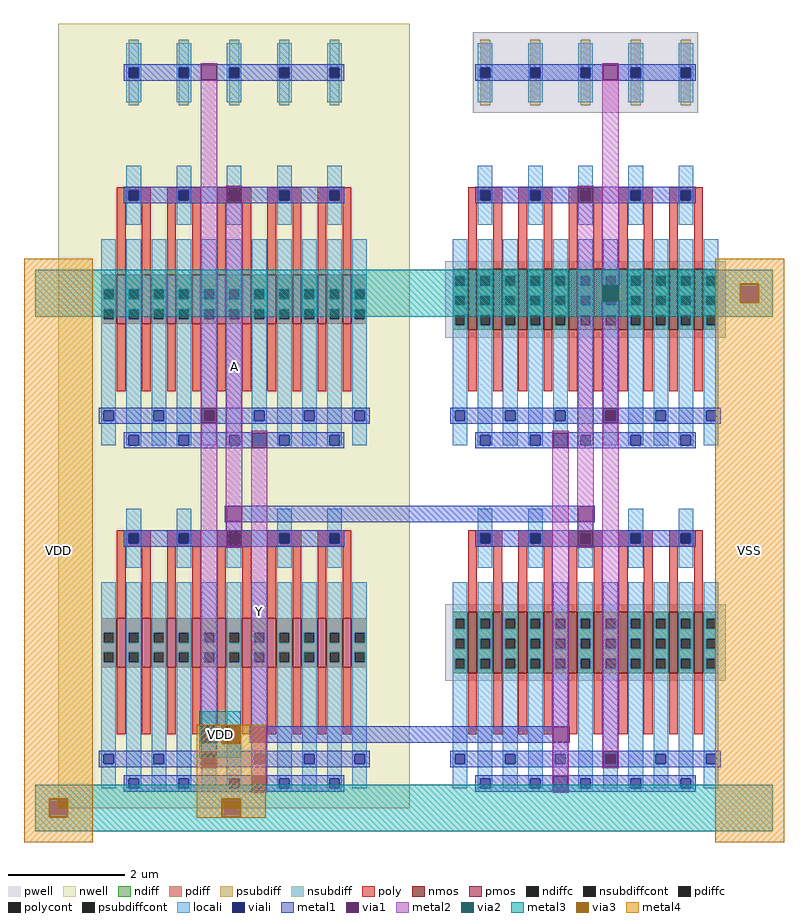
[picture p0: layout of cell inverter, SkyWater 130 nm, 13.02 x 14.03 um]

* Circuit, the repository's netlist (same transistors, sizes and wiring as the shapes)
* NGSPICE file created from inverter_lvs.ext - technology: sky130A

.subckt inverter_lvs A Y VDD VSS
X0 VDD A Y VDD sky130_fd_pr__pfet_01v8 ad=2.772e+12p pd=2.676e+07u as=2.352e+12p ps=2.24e+07u w=840000u l=150000u M=20
X1 Y A VSS VSS sky130_fd_pr__nfet_01v8 ad=2.94e+12p pd=2.66e+07u as=3.465e+12p ps=3.18e+07u w=1.05e+06u l=150000u M=20
.ends

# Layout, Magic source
magic
tech sky130A
magscale 1 2
<< metal1 >>
rect 570 1034 1838 1036
rect 570 982 576 1034
rect 628 982 1780 1034
rect 1832 982 1838 1034
rect 570 980 1838 982
rect 656 278 1752 280
rect 656 226 662 278
rect 714 226 1694 278
rect 1746 226 1752 278
rect 656 224 1752 226
<< via1 >>
rect 576 982 628 1034
rect 1780 982 1832 1034
rect 662 226 714 278
rect 1694 226 1746 278
<< metal2 >>
rect 1864 1792 1920 1801
rect 1864 1727 1920 1736
rect 574 1034 630 1040
rect 574 982 576 1034
rect 628 982 630 1034
rect 574 976 630 982
rect 1778 1034 1834 1040
rect 1778 982 1780 1034
rect 1832 982 1834 1034
rect 1778 976 1834 982
rect 488 280 544 289
rect 488 215 544 224
rect 660 278 716 284
rect 660 226 662 278
rect 714 226 716 278
rect 660 220 716 226
rect 1692 278 1748 284
rect 1692 226 1694 278
rect 1746 226 1748 278
rect 1692 220 1748 226
<< via2 >>
rect 1864 1736 1920 1792
rect 488 224 544 280
<< metal3 >>
rect -80 1796 2448 1844
rect -80 1792 2336 1796
rect -80 1736 1864 1792
rect 1920 1736 2336 1792
rect -80 1732 2336 1736
rect 2400 1732 2448 1796
rect -80 1684 2448 1732
rect 483 284 625 332
rect 483 280 560 284
rect 483 224 488 280
rect 544 224 560 280
rect 483 220 560 224
rect 624 220 625 284
rect 483 172 625 220
rect -80 32 2448 80
rect -80 -32 -32 32
rect 32 -32 560 32
rect 624 -32 2448 32
rect -80 -80 2448 -32
<< via3 >>
rect 2336 1732 2400 1796
rect 560 220 624 284
rect -32 -32 32 32
rect 560 -32 624 32
<< metal4 >>
rect -118 32 118 1882
rect 2250 1796 2486 1882
rect 2250 1732 2336 1796
rect 2400 1732 2486 1796
rect -118 -32 -32 32
rect 32 -32 118 32
rect -118 -118 118 -32
rect 474 284 710 285
rect 474 220 560 284
rect 624 220 710 284
rect 474 32 710 220
rect 474 -32 560 32
rect 624 -32 710 32
rect 474 -33 710 -32
rect 2250 -118 2486 1732
use NMOS_S_6078655_X5_Y2_1678793193  NMOS_S_6078655_X5_Y2_1678793193_0
transform 1 0 1204 0 1 0
box 121 52 1083 2658
use PMOS_S_79543009_X5_Y2_1678793194  PMOS_S_79543009_X5_Y2_1678793194_0
transform -1 0 1204 0 1 0
box 0 0 1204 2688
<< labels >>
flabel metal2 s 688 672 688 672 0 FreeSerif 0 0 0 0 Y
flabel metal2 s 602 1512 602 1512 0 FreeSerif 0 0 0 0 A
flabel metal4 s 2368 882 2368 882 0 FreeSerif 0 0 0 0 VSS
flabel metal4 s 2368 882 2368 882 0 FreeSerif 0 0 0 0 VSS
flabel metal4 s 0 882 0 882 0 FreeSerif 0 0 0 0 VDD
flabel metal3 s 554 252 554 252 0 FreeSerif 0 0 0 0 VDD
flabel metal4 s 0 882 0 882 0 FreeSerif 0 0 0 0 VDD
flabel metal4 s 0 882 0 882 0 FreeSerif 0 0 0 0 VDD
flabel metal4 s 0 882 0 882 0 FreeSerif 0 0 0 0 VDD
<< end >>

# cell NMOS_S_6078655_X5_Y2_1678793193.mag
magic
tech sky130A
magscale 1 2
<< pwell >>
rect 215 2382 989 2658
rect 121 1612 1083 1874
rect 121 436 1083 698
<< nmos >>
rect 200 1638 230 1848
rect 286 1638 316 1848
rect 372 1638 402 1848
rect 458 1638 488 1848
rect 544 1638 574 1848
rect 630 1638 660 1848
rect 716 1638 746 1848
rect 802 1638 832 1848
rect 888 1638 918 1848
rect 974 1638 1004 1848
rect 200 462 230 672
rect 286 462 316 672
rect 372 462 402 672
rect 458 462 488 672
rect 544 462 574 672
rect 630 462 660 672
rect 716 462 746 672
rect 802 462 832 672
rect 888 462 918 672
rect 974 462 1004 672
<< ndiff >>
rect 147 1824 200 1848
rect 147 1790 155 1824
rect 189 1790 200 1824
rect 147 1756 200 1790
rect 147 1722 155 1756
rect 189 1722 200 1756
rect 147 1688 200 1722
rect 147 1654 155 1688
rect 189 1654 200 1688
rect 147 1638 200 1654
rect 230 1824 286 1848
rect 230 1790 241 1824
rect 275 1790 286 1824
rect 230 1756 286 1790
rect 230 1722 241 1756
rect 275 1722 286 1756
rect 230 1688 286 1722
rect 230 1654 241 1688
rect 275 1654 286 1688
rect 230 1638 286 1654
rect 316 1824 372 1848
rect 316 1790 327 1824
rect 361 1790 372 1824
rect 316 1756 372 1790
rect 316 1722 327 1756
rect 361 1722 372 1756
rect 316 1688 372 1722
rect 316 1654 327 1688
rect 361 1654 372 1688
rect 316 1638 372 1654
rect 402 1824 458 1848
rect 402 1790 413 1824
rect 447 1790 458 1824
rect 402 1756 458 1790
rect 402 1722 413 1756
rect 447 1722 458 1756
rect 402 1688 458 1722
rect 402 1654 413 1688
rect 447 1654 458 1688
rect 402 1638 458 1654
rect 488 1824 544 1848
rect 488 1790 499 1824
rect 533 1790 544 1824
rect 488 1756 544 1790
rect 488 1722 499 1756
rect 533 1722 544 1756
rect 488 1688 544 1722
rect 488 1654 499 1688
rect 533 1654 544 1688
rect 488 1638 544 1654
rect 574 1824 630 1848
rect 574 1790 585 1824
rect 619 1790 630 1824
rect 574 1756 630 1790
rect 574 1722 585 1756
rect 619 1722 630 1756
rect 574 1688 630 1722
rect 574 1654 585 1688
rect 619 1654 630 1688
rect 574 1638 630 1654
rect 660 1824 716 1848
rect 660 1790 671 1824
rect 705 1790 716 1824
rect 660 1756 716 1790
rect 660 1722 671 1756
rect 705 1722 716 1756
rect 660 1688 716 1722
rect 660 1654 671 1688
rect 705 1654 716 1688
rect 660 1638 716 1654
rect 746 1824 802 1848
rect 746 1790 757 1824
rect 791 1790 802 1824
rect 746 1756 802 1790
rect 746 1722 757 1756
rect 791 1722 802 1756
rect 746 1688 802 1722
rect 746 1654 757 1688
rect 791 1654 802 1688
rect 746 1638 802 1654
rect 832 1824 888 1848
rect 832 1790 843 1824
rect 877 1790 888 1824
rect 832 1756 888 1790
rect 832 1722 843 1756
rect 877 1722 888 1756
rect 832 1688 888 1722
rect 832 1654 843 1688
rect 877 1654 888 1688
rect 832 1638 888 1654
rect 918 1824 974 1848
rect 918 1790 929 1824
rect 963 1790 974 1824
rect 918 1756 974 1790
rect 918 1722 929 1756
rect 963 1722 974 1756
rect 918 1688 974 1722
rect 918 1654 929 1688
rect 963 1654 974 1688
rect 918 1638 974 1654
rect 1004 1824 1057 1848
rect 1004 1790 1015 1824
rect 1049 1790 1057 1824
rect 1004 1756 1057 1790
rect 1004 1722 1015 1756
rect 1049 1722 1057 1756
rect 1004 1688 1057 1722
rect 1004 1654 1015 1688
rect 1049 1654 1057 1688
rect 1004 1638 1057 1654
rect 147 648 200 672
rect 147 614 155 648
rect 189 614 200 648
rect 147 580 200 614
rect 147 546 155 580
rect 189 546 200 580
rect 147 512 200 546
rect 147 478 155 512
rect 189 478 200 512
rect 147 462 200 478
rect 230 648 286 672
rect 230 614 241 648
rect 275 614 286 648
rect 230 580 286 614
rect 230 546 241 580
rect 275 546 286 580
rect 230 512 286 546
rect 230 478 241 512
rect 275 478 286 512
rect 230 462 286 478
rect 316 648 372 672
rect 316 614 327 648
rect 361 614 372 648
rect 316 580 372 614
rect 316 546 327 580
rect 361 546 372 580
rect 316 512 372 546
rect 316 478 327 512
rect 361 478 372 512
rect 316 462 372 478
rect 402 648 458 672
rect 402 614 413 648
rect 447 614 458 648
rect 402 580 458 614
rect 402 546 413 580
rect 447 546 458 580
rect 402 512 458 546
rect 402 478 413 512
rect 447 478 458 512
rect 402 462 458 478
rect 488 648 544 672
rect 488 614 499 648
rect 533 614 544 648
rect 488 580 544 614
rect 488 546 499 580
rect 533 546 544 580
rect 488 512 544 546
rect 488 478 499 512
rect 533 478 544 512
rect 488 462 544 478
rect 574 648 630 672
rect 574 614 585 648
rect 619 614 630 648
rect 574 580 630 614
rect 574 546 585 580
rect 619 546 630 580
rect 574 512 630 546
rect 574 478 585 512
rect 619 478 630 512
rect 574 462 630 478
rect 660 648 716 672
rect 660 614 671 648
rect 705 614 716 648
rect 660 580 716 614
rect 660 546 671 580
rect 705 546 716 580
rect 660 512 716 546
rect 660 478 671 512
rect 705 478 716 512
rect 660 462 716 478
rect 746 648 802 672
rect 746 614 757 648
rect 791 614 802 648
rect 746 580 802 614
rect 746 546 757 580
rect 791 546 802 580
rect 746 512 802 546
rect 746 478 757 512
rect 791 478 802 512
rect 746 462 802 478
rect 832 648 888 672
rect 832 614 843 648
rect 877 614 888 648
rect 832 580 888 614
rect 832 546 843 580
rect 877 546 888 580
rect 832 512 888 546
rect 832 478 843 512
rect 877 478 888 512
rect 832 462 888 478
rect 918 648 974 672
rect 918 614 929 648
rect 963 614 974 648
rect 918 580 974 614
rect 918 546 929 580
rect 963 546 974 580
rect 918 512 974 546
rect 918 478 929 512
rect 963 478 974 512
rect 918 462 974 478
rect 1004 648 1057 672
rect 1004 614 1015 648
rect 1049 614 1057 648
rect 1004 580 1057 614
rect 1004 546 1015 580
rect 1049 546 1057 580
rect 1004 512 1057 546
rect 1004 478 1015 512
rect 1049 478 1057 512
rect 1004 462 1057 478
<< ndiffc >>
rect 155 1790 189 1824
rect 155 1722 189 1756
rect 155 1654 189 1688
rect 241 1790 275 1824
rect 241 1722 275 1756
rect 241 1654 275 1688
rect 327 1790 361 1824
rect 327 1722 361 1756
rect 327 1654 361 1688
rect 413 1790 447 1824
rect 413 1722 447 1756
rect 413 1654 447 1688
rect 499 1790 533 1824
rect 499 1722 533 1756
rect 499 1654 533 1688
rect 585 1790 619 1824
rect 585 1722 619 1756
rect 585 1654 619 1688
rect 671 1790 705 1824
rect 671 1722 705 1756
rect 671 1654 705 1688
rect 757 1790 791 1824
rect 757 1722 791 1756
rect 757 1654 791 1688
rect 843 1790 877 1824
rect 843 1722 877 1756
rect 843 1654 877 1688
rect 929 1790 963 1824
rect 929 1722 963 1756
rect 929 1654 963 1688
rect 1015 1790 1049 1824
rect 1015 1722 1049 1756
rect 1015 1654 1049 1688
rect 155 614 189 648
rect 155 546 189 580
rect 155 478 189 512
rect 241 614 275 648
rect 241 546 275 580
rect 241 478 275 512
rect 327 614 361 648
rect 327 546 361 580
rect 327 478 361 512
rect 413 614 447 648
rect 413 546 447 580
rect 413 478 447 512
rect 499 614 533 648
rect 499 546 533 580
rect 499 478 533 512
rect 585 614 619 648
rect 585 546 619 580
rect 585 478 619 512
rect 671 614 705 648
rect 671 546 705 580
rect 671 478 705 512
rect 757 614 791 648
rect 757 546 791 580
rect 757 478 791 512
rect 843 614 877 648
rect 843 546 877 580
rect 843 478 877 512
rect 929 614 963 648
rect 929 546 963 580
rect 929 478 963 512
rect 1015 614 1049 648
rect 1015 546 1049 580
rect 1015 478 1049 512
<< psubdiff >>
rect 241 2537 275 2632
rect 241 2408 275 2503
rect 413 2537 447 2632
rect 413 2408 447 2503
rect 585 2537 619 2632
rect 585 2408 619 2503
rect 757 2537 791 2632
rect 757 2408 791 2503
rect 929 2537 963 2632
rect 929 2408 963 2503
<< psubdiffcont >>
rect 241 2503 275 2537
rect 413 2503 447 2537
rect 585 2503 619 2537
rect 757 2503 791 2537
rect 929 2503 963 2537
<< poly >>
rect 200 2117 316 2127
rect 200 2083 241 2117
rect 275 2083 316 2117
rect 200 2073 316 2083
rect 200 1848 230 2073
rect 286 1848 316 2073
rect 372 2117 488 2127
rect 372 2083 413 2117
rect 447 2083 488 2117
rect 372 2073 488 2083
rect 372 1848 402 2073
rect 458 1848 488 2073
rect 544 2117 660 2127
rect 544 2083 585 2117
rect 619 2083 660 2117
rect 544 2073 660 2083
rect 544 1848 574 2073
rect 630 1848 660 2073
rect 716 2117 832 2127
rect 716 2083 757 2117
rect 791 2083 832 2117
rect 716 2073 832 2083
rect 716 1848 746 2073
rect 802 1848 832 2073
rect 888 2117 1004 2127
rect 888 2083 929 2117
rect 963 2083 1004 2117
rect 888 2073 1004 2083
rect 888 1848 918 2073
rect 974 1848 1004 2073
rect 200 1428 230 1638
rect 286 1428 316 1638
rect 372 1428 402 1638
rect 458 1428 488 1638
rect 544 1428 574 1638
rect 630 1428 660 1638
rect 716 1428 746 1638
rect 802 1428 832 1638
rect 888 1428 918 1638
rect 974 1428 1004 1638
rect 200 941 316 951
rect 200 907 241 941
rect 275 907 316 941
rect 200 897 316 907
rect 200 672 230 897
rect 286 672 316 897
rect 372 941 488 951
rect 372 907 413 941
rect 447 907 488 941
rect 372 897 488 907
rect 372 672 402 897
rect 458 672 488 897
rect 544 941 660 951
rect 544 907 585 941
rect 619 907 660 941
rect 544 897 660 907
rect 544 672 574 897
rect 630 672 660 897
rect 716 941 832 951
rect 716 907 757 941
rect 791 907 832 941
rect 716 897 832 907
rect 716 672 746 897
rect 802 672 832 897
rect 888 941 1004 951
rect 888 907 929 941
rect 963 907 1004 941
rect 888 897 1004 907
rect 888 672 918 897
rect 974 672 1004 897
rect 200 252 230 462
rect 286 252 316 462
rect 372 252 402 462
rect 458 252 488 462
rect 544 252 574 462
rect 630 252 660 462
rect 716 252 746 462
rect 802 252 832 462
rect 888 252 918 462
rect 974 252 1004 462
<< polycont >>
rect 241 2083 275 2117
rect 413 2083 447 2117
rect 585 2083 619 2117
rect 757 2083 791 2117
rect 929 2083 963 2117
rect 241 907 275 941
rect 413 907 447 941
rect 585 907 619 941
rect 757 907 791 941
rect 929 907 963 941
<< locali >>
rect 233 2537 283 2621
rect 233 2503 241 2537
rect 275 2503 283 2537
rect 233 2419 283 2503
rect 405 2537 455 2621
rect 405 2503 413 2537
rect 447 2503 455 2537
rect 405 2419 455 2503
rect 577 2537 627 2621
rect 577 2503 585 2537
rect 619 2503 627 2537
rect 577 2419 627 2503
rect 749 2537 799 2621
rect 749 2503 757 2537
rect 791 2503 799 2537
rect 749 2419 799 2503
rect 921 2537 971 2621
rect 921 2503 929 2537
rect 963 2503 971 2537
rect 921 2419 971 2503
rect 233 2117 283 2201
rect 233 2083 241 2117
rect 275 2083 283 2117
rect 233 1999 283 2083
rect 405 2117 455 2201
rect 405 2083 413 2117
rect 447 2083 455 2117
rect 405 1999 455 2083
rect 577 2117 627 2201
rect 577 2083 585 2117
rect 619 2083 627 2117
rect 577 1999 627 2083
rect 749 2117 799 2201
rect 749 2083 757 2117
rect 791 2083 799 2117
rect 749 1999 799 2083
rect 921 2117 971 2201
rect 921 2083 929 2117
rect 963 2083 971 2117
rect 921 1999 971 2083
rect 147 1824 197 1949
rect 147 1790 155 1824
rect 189 1790 197 1824
rect 147 1756 197 1790
rect 147 1722 155 1756
rect 189 1722 197 1756
rect 147 1688 197 1722
rect 147 1654 155 1688
rect 189 1654 197 1688
rect 147 1361 197 1654
rect 147 1327 155 1361
rect 189 1327 197 1361
rect 147 1243 197 1327
rect 233 1824 283 1949
rect 233 1790 241 1824
rect 275 1790 283 1824
rect 233 1756 283 1790
rect 233 1722 241 1756
rect 275 1722 283 1756
rect 233 1688 283 1722
rect 233 1654 241 1688
rect 275 1654 283 1688
rect 233 1277 283 1654
rect 233 1243 241 1277
rect 275 1243 283 1277
rect 319 1824 369 1949
rect 319 1790 327 1824
rect 361 1790 369 1824
rect 319 1756 369 1790
rect 319 1722 327 1756
rect 361 1722 369 1756
rect 319 1688 369 1722
rect 319 1654 327 1688
rect 361 1654 369 1688
rect 319 1361 369 1654
rect 319 1327 327 1361
rect 361 1327 369 1361
rect 319 1243 369 1327
rect 405 1824 455 1949
rect 405 1790 413 1824
rect 447 1790 455 1824
rect 405 1756 455 1790
rect 405 1722 413 1756
rect 447 1722 455 1756
rect 405 1688 455 1722
rect 405 1654 413 1688
rect 447 1654 455 1688
rect 405 1277 455 1654
rect 405 1243 413 1277
rect 447 1243 455 1277
rect 491 1824 541 1949
rect 491 1790 499 1824
rect 533 1790 541 1824
rect 491 1756 541 1790
rect 491 1722 499 1756
rect 533 1722 541 1756
rect 491 1688 541 1722
rect 491 1654 499 1688
rect 533 1654 541 1688
rect 491 1361 541 1654
rect 491 1327 499 1361
rect 533 1327 541 1361
rect 491 1243 541 1327
rect 577 1824 627 1949
rect 577 1790 585 1824
rect 619 1790 627 1824
rect 577 1756 627 1790
rect 577 1722 585 1756
rect 619 1722 627 1756
rect 577 1688 627 1722
rect 577 1654 585 1688
rect 619 1654 627 1688
rect 577 1277 627 1654
rect 577 1243 585 1277
rect 619 1243 627 1277
rect 663 1824 713 1949
rect 663 1790 671 1824
rect 705 1790 713 1824
rect 663 1756 713 1790
rect 663 1722 671 1756
rect 705 1722 713 1756
rect 663 1688 713 1722
rect 663 1654 671 1688
rect 705 1654 713 1688
rect 663 1361 713 1654
rect 663 1327 671 1361
rect 705 1327 713 1361
rect 663 1243 713 1327
rect 749 1824 799 1949
rect 749 1790 757 1824
rect 791 1790 799 1824
rect 749 1756 799 1790
rect 749 1722 757 1756
rect 791 1722 799 1756
rect 749 1688 799 1722
rect 749 1654 757 1688
rect 791 1654 799 1688
rect 749 1277 799 1654
rect 749 1243 757 1277
rect 791 1243 799 1277
rect 835 1824 885 1949
rect 835 1790 843 1824
rect 877 1790 885 1824
rect 835 1756 885 1790
rect 835 1722 843 1756
rect 877 1722 885 1756
rect 835 1688 885 1722
rect 835 1654 843 1688
rect 877 1654 885 1688
rect 835 1361 885 1654
rect 835 1327 843 1361
rect 877 1327 885 1361
rect 835 1243 885 1327
rect 921 1824 971 1949
rect 921 1790 929 1824
rect 963 1790 971 1824
rect 921 1756 971 1790
rect 921 1722 929 1756
rect 963 1722 971 1756
rect 921 1688 971 1722
rect 921 1654 929 1688
rect 963 1654 971 1688
rect 921 1277 971 1654
rect 921 1243 929 1277
rect 963 1243 971 1277
rect 1007 1824 1057 1949
rect 1007 1790 1015 1824
rect 1049 1790 1057 1824
rect 1007 1756 1057 1790
rect 1007 1722 1015 1756
rect 1049 1722 1057 1756
rect 1007 1688 1057 1722
rect 1007 1654 1015 1688
rect 1049 1654 1057 1688
rect 1007 1361 1057 1654
rect 1007 1327 1015 1361
rect 1049 1327 1057 1361
rect 1007 1243 1057 1327
rect 233 941 283 1025
rect 233 907 241 941
rect 275 907 283 941
rect 233 823 283 907
rect 405 941 455 1025
rect 405 907 413 941
rect 447 907 455 941
rect 405 823 455 907
rect 577 941 627 1025
rect 577 907 585 941
rect 619 907 627 941
rect 577 823 627 907
rect 749 941 799 1025
rect 749 907 757 941
rect 791 907 799 941
rect 749 823 799 907
rect 921 941 971 1025
rect 921 907 929 941
rect 963 907 971 941
rect 921 823 971 907
rect 147 648 197 773
rect 147 614 155 648
rect 189 614 197 648
rect 147 580 197 614
rect 147 546 155 580
rect 189 546 197 580
rect 147 512 197 546
rect 147 478 155 512
rect 189 478 197 512
rect 147 185 197 478
rect 147 151 155 185
rect 189 151 197 185
rect 147 67 197 151
rect 233 648 283 773
rect 233 614 241 648
rect 275 614 283 648
rect 233 580 283 614
rect 233 546 241 580
rect 275 546 283 580
rect 233 512 283 546
rect 233 478 241 512
rect 275 478 283 512
rect 233 101 283 478
rect 233 67 241 101
rect 275 67 283 101
rect 319 648 369 773
rect 319 614 327 648
rect 361 614 369 648
rect 319 580 369 614
rect 319 546 327 580
rect 361 546 369 580
rect 319 512 369 546
rect 319 478 327 512
rect 361 478 369 512
rect 319 185 369 478
rect 319 151 327 185
rect 361 151 369 185
rect 319 67 369 151
rect 405 648 455 773
rect 405 614 413 648
rect 447 614 455 648
rect 405 580 455 614
rect 405 546 413 580
rect 447 546 455 580
rect 405 512 455 546
rect 405 478 413 512
rect 447 478 455 512
rect 405 101 455 478
rect 405 67 413 101
rect 447 67 455 101
rect 491 648 541 773
rect 491 614 499 648
rect 533 614 541 648
rect 491 580 541 614
rect 491 546 499 580
rect 533 546 541 580
rect 491 512 541 546
rect 491 478 499 512
rect 533 478 541 512
rect 491 185 541 478
rect 491 151 499 185
rect 533 151 541 185
rect 491 67 541 151
rect 577 648 627 773
rect 577 614 585 648
rect 619 614 627 648
rect 577 580 627 614
rect 577 546 585 580
rect 619 546 627 580
rect 577 512 627 546
rect 577 478 585 512
rect 619 478 627 512
rect 577 101 627 478
rect 577 67 585 101
rect 619 67 627 101
rect 663 648 713 773
rect 663 614 671 648
rect 705 614 713 648
rect 663 580 713 614
rect 663 546 671 580
rect 705 546 713 580
rect 663 512 713 546
rect 663 478 671 512
rect 705 478 713 512
rect 663 185 713 478
rect 663 151 671 185
rect 705 151 713 185
rect 663 67 713 151
rect 749 648 799 773
rect 749 614 757 648
rect 791 614 799 648
rect 749 580 799 614
rect 749 546 757 580
rect 791 546 799 580
rect 749 512 799 546
rect 749 478 757 512
rect 791 478 799 512
rect 749 101 799 478
rect 749 67 757 101
rect 791 67 799 101
rect 835 648 885 773
rect 835 614 843 648
rect 877 614 885 648
rect 835 580 885 614
rect 835 546 843 580
rect 877 546 885 580
rect 835 512 885 546
rect 835 478 843 512
rect 877 478 885 512
rect 835 185 885 478
rect 835 151 843 185
rect 877 151 885 185
rect 835 67 885 151
rect 921 648 971 773
rect 921 614 929 648
rect 963 614 971 648
rect 921 580 971 614
rect 921 546 929 580
rect 963 546 971 580
rect 921 512 971 546
rect 921 478 929 512
rect 963 478 971 512
rect 921 101 971 478
rect 921 67 929 101
rect 963 67 971 101
rect 1007 648 1057 773
rect 1007 614 1015 648
rect 1049 614 1057 648
rect 1007 580 1057 614
rect 1007 546 1015 580
rect 1049 546 1057 580
rect 1007 512 1057 546
rect 1007 478 1015 512
rect 1049 478 1057 512
rect 1007 185 1057 478
rect 1007 151 1015 185
rect 1049 151 1057 185
rect 1007 67 1057 151
<< viali >>
rect 241 2503 275 2537
rect 413 2503 447 2537
rect 585 2503 619 2537
rect 757 2503 791 2537
rect 929 2503 963 2537
rect 241 2083 275 2117
rect 413 2083 447 2117
rect 585 2083 619 2117
rect 757 2083 791 2117
rect 929 2083 963 2117
rect 155 1327 189 1361
rect 241 1243 275 1277
rect 327 1327 361 1361
rect 413 1243 447 1277
rect 499 1327 533 1361
rect 585 1243 619 1277
rect 671 1327 705 1361
rect 757 1243 791 1277
rect 843 1327 877 1361
rect 929 1243 963 1277
rect 1015 1327 1049 1361
rect 241 907 275 941
rect 413 907 447 941
rect 585 907 619 941
rect 757 907 791 941
rect 929 907 963 941
rect 155 151 189 185
rect 241 67 275 101
rect 327 151 361 185
rect 413 67 447 101
rect 499 151 533 185
rect 585 67 619 101
rect 671 151 705 185
rect 757 67 791 101
rect 843 151 877 185
rect 929 67 963 101
rect 1015 151 1049 185
<< metal1 >>
rect 224 2546 980 2548
rect 224 2537 662 2546
rect 224 2503 241 2537
rect 275 2503 413 2537
rect 447 2503 585 2537
rect 619 2503 662 2537
rect 224 2494 662 2503
rect 714 2537 980 2546
rect 714 2503 757 2537
rect 791 2503 929 2537
rect 963 2503 980 2537
rect 714 2494 980 2503
rect 224 2492 980 2494
rect 224 2126 980 2128
rect 224 2117 576 2126
rect 628 2117 980 2126
rect 224 2083 241 2117
rect 275 2083 413 2117
rect 447 2083 576 2117
rect 628 2083 757 2117
rect 791 2083 929 2117
rect 963 2083 980 2117
rect 224 2074 576 2083
rect 628 2074 980 2083
rect 224 2072 980 2074
rect 138 1370 1066 1372
rect 138 1361 662 1370
rect 714 1361 1066 1370
rect 138 1327 155 1361
rect 189 1327 327 1361
rect 361 1327 499 1361
rect 533 1327 662 1361
rect 714 1327 843 1361
rect 877 1327 1015 1361
rect 1049 1327 1066 1361
rect 138 1318 662 1327
rect 714 1318 1066 1327
rect 138 1316 1066 1318
rect 224 1286 980 1288
rect 224 1277 490 1286
rect 224 1243 241 1277
rect 275 1243 413 1277
rect 447 1243 490 1277
rect 224 1234 490 1243
rect 542 1277 980 1286
rect 542 1243 585 1277
rect 619 1243 757 1277
rect 791 1243 929 1277
rect 963 1243 980 1277
rect 542 1234 980 1243
rect 224 1232 980 1234
rect 224 950 980 952
rect 224 941 576 950
rect 628 941 980 950
rect 224 907 241 941
rect 275 907 413 941
rect 447 907 576 941
rect 628 907 757 941
rect 791 907 929 941
rect 963 907 980 941
rect 224 898 576 907
rect 628 898 980 907
rect 224 896 980 898
rect 138 194 1066 196
rect 138 185 662 194
rect 714 185 1066 194
rect 138 151 155 185
rect 189 151 327 185
rect 361 151 499 185
rect 533 151 662 185
rect 714 151 843 185
rect 877 151 1015 185
rect 1049 151 1066 185
rect 138 142 662 151
rect 714 142 1066 151
rect 138 140 1066 142
rect 224 110 980 112
rect 224 101 490 110
rect 224 67 241 101
rect 275 67 413 101
rect 447 67 490 101
rect 224 58 490 67
rect 542 101 980 110
rect 542 67 585 101
rect 619 67 757 101
rect 791 67 929 101
rect 963 67 980 101
rect 542 58 980 67
rect 224 56 980 58
<< via1 >>
rect 662 2494 714 2546
rect 576 2117 628 2126
rect 576 2083 585 2117
rect 585 2083 619 2117
rect 619 2083 628 2117
rect 576 2074 628 2083
rect 662 1361 714 1370
rect 662 1327 671 1361
rect 671 1327 705 1361
rect 705 1327 714 1361
rect 662 1318 714 1327
rect 490 1234 542 1286
rect 576 941 628 950
rect 576 907 585 941
rect 585 907 619 941
rect 619 907 628 941
rect 576 898 628 907
rect 662 185 714 194
rect 662 151 671 185
rect 671 151 705 185
rect 705 151 714 185
rect 662 142 714 151
rect 490 58 542 110
<< metal2 >>
rect 660 2546 716 2552
rect 660 2494 662 2546
rect 714 2494 716 2546
rect 574 2126 630 2132
rect 574 2074 576 2126
rect 628 2074 630 2126
rect 488 1286 544 1292
rect 488 1234 490 1286
rect 542 1234 544 1286
rect 488 110 544 1234
rect 574 950 630 2074
rect 574 898 576 950
rect 628 898 630 950
rect 574 892 630 898
rect 660 1370 716 2494
rect 660 1318 662 1370
rect 714 1318 716 1370
rect 660 194 716 1318
rect 660 142 662 194
rect 714 142 716 194
rect 660 136 716 142
rect 488 58 490 110
rect 542 58 544 110
rect 488 52 544 58
<< end >>

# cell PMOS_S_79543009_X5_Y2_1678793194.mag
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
